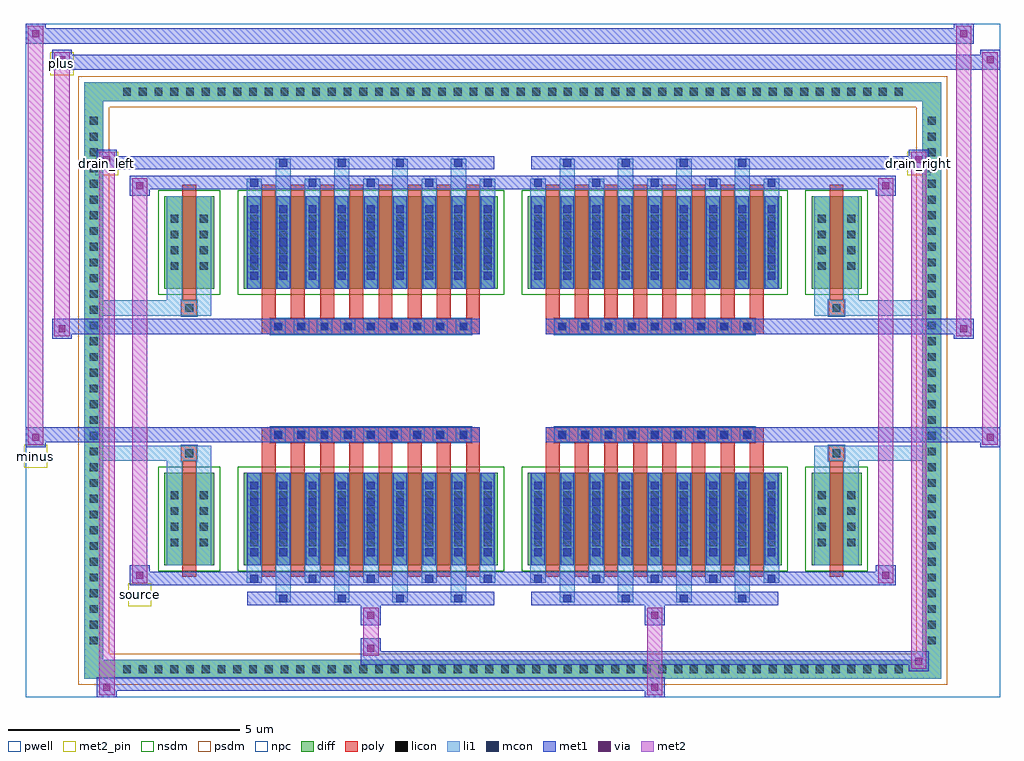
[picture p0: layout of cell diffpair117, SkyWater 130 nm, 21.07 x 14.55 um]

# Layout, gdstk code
import gdstk
lib = gdstk.Library(unit=1e-6, precision=5e-09)
def R(c, l, rs):  # rectangles x0, y0, x1, y1
    for r in rs: c.add(gdstk.rectangle(r[:2], r[2:], *l))
def A(c, l, x, y, w, h, nx, ny, dx, dy):  # array of equal rectangles
    R(c, l, [(x+i*dx, y+j*dy, x+i*dx+w, y+j*dy+h) for i in range(nx) for j in range(ny)])
def P(c, l, *ps):  # polygons
    for p in ps: c.add(gdstk.Polygon(p, *l))
pwell = (64, 44)
diff = (65, 20)
poly = (66, 20)
licon = (66, 44)
li1 = (67, 20)
mcon = (67, 44)
met1 = (68, 20)
via = (68, 44)
met2_pin = (69, 16)
met2 = (69, 20)
nsdm = (93, 44)
psdm = (94, 20)
npc = (95, 20)

diffpair117 = lib.new_cell('diffpair117')
R(diffpair117, pwell, [(-10.52,-6.84,10.52,7.71), (-7.84,-5.03,-0.01,-0.805), (0.01,-5.03,7.84,-0.805), (-7.84,0.805,-0.01,5.03), (0.01,0.805,7.84,5.03)])
A(diffpair117, diff, -8.535, -6.44, 0.41, 0.41, 50, 2, 0.34, 12.47)
A(diffpair117, diff, -9.25, -5.815, 0.41, 0.41, 1, 34, 0, 0.34)
A(diffpair117, diff, 8.84, -5.815, 0.41, 0.41, 1, 34, 0, 0.34)
R(diffpair117, diff, [(-8.535,-6.44,8.535,-6.03), (-9.25,-5.815,-8.84,5.815), (8.84,-5.815,9.25,5.815), (-7.53,-3.985,-6.45,-1.985), (-5.81,-3.985,-0.32,-1.985), (0.32,-3.985,5.81,-1.985), (6.45,-3.985,7.53,-1.985), (-7.53,1.985,-6.45,3.985), (-5.81,1.985,-0.32,3.985), (0.32,1.985,5.81,3.985), (6.45,1.985,7.53,3.985), (-8.535,6.03,8.535,6.44)])
P(diffpair117, diff, [(9.25,6.44),(-9.25,6.44),(-9.25,-6.03),(-8.84,-6.03),(-8.84,6.03),(8.84,6.03),(8.84,-6.03),(-8.84,-6.03),(-9.25,-6.03),(-9.25,-6.44),(9.25,-6.44)])
A(diffpair117, poly, -5.42, -4.235, 0.3, 2.5, 8, 2, 0.63, 5.97)
A(diffpair117, poly, 0.71, -4.235, 0.3, 2.5, 8, 2, 0.63, 5.97)
A(diffpair117, poly, -5.42, -1.735, 0.3, 0.4, 8, 2, 0.63, 3.07)
A(diffpair117, poly, 0.71, -1.735, 0.3, 0.4, 8, 2, 0.63, 3.07)
A(diffpair117, poly, -5.23, -1.335, 0.33, 0.33, 9, 2, 0.5, 2.34)
A(diffpair117, poly, 0.9, -1.335, 0.33, 0.33, 9, 2, 0.5, 2.34)
R(diffpair117, poly, [(-7.14,-4.235,-6.84,-1.735), (6.84,-4.235,7.14,-1.735), (-7.155,-1.735,-6.825,-1.405), (-7.155,-1.735,-6.825,-1.405), (6.825,-1.735,7.155,-1.405), (6.825,-1.735,7.155,-1.405), (-5.42,-1.335,-0.71,-1.005), (0.71,-1.335,5.42,-1.005), (-5.42,1.005,-0.71,1.335), (0.71,1.005,5.42,1.335), (-7.155,1.405,-6.825,1.735), (-7.155,1.405,-6.825,1.735), (6.825,1.405,7.155,1.735), (6.825,1.405,7.155,1.735), (-7.14,1.735,-6.84,4.235), (6.84,1.735,7.14,4.235)])
A(diffpair117, licon, -8.415, -6.32, 0.17, 0.17, 50, 2, 0.34, 12.47)
A(diffpair117, licon, -9.13, -5.695, 0.17, 0.17, 1, 34, 0, 0.34)
A(diffpair117, licon, 8.96, -5.695, 0.17, 0.17, 1, 34, 0, 0.34)
A(diffpair117, licon, -7.39, -3.58, 0.17, 0.17, 1, 4, 0, 0.34)
A(diffpair117, licon, -6.76, -3.58, 0.17, 0.17, 1, 4, 0, 0.34)
A(diffpair117, licon, -5.67, -3.58, 0.17, 0.17, 9, 4, 0.63, 0.34)
A(diffpair117, licon, 0.46, -3.58, 0.17, 0.17, 9, 4, 0.63, 0.34)
A(diffpair117, licon, 6.59, -3.58, 0.17, 0.17, 1, 4, 0, 0.34)
A(diffpair117, licon, 7.22, -3.58, 0.17, 0.17, 1, 4, 0, 0.34)
A(diffpair117, licon, -5.15, -1.255, 0.17, 0.17, 9, 2, 0.5, 2.34)
A(diffpair117, licon, 0.98, -1.255, 0.17, 0.17, 9, 2, 0.5, 2.34)
A(diffpair117, licon, -7.39, 2.39, 0.17, 0.17, 1, 4, 0, 0.34)
A(diffpair117, licon, -6.76, 2.39, 0.17, 0.17, 1, 4, 0, 0.34)
A(diffpair117, licon, -5.67, 2.39, 0.17, 0.17, 9, 4, 0.63, 0.34)
A(diffpair117, licon, 0.46, 2.39, 0.17, 0.17, 9, 4, 0.63, 0.34)
A(diffpair117, licon, 6.59, 2.39, 0.17, 0.17, 1, 4, 0, 0.34)
A(diffpair117, licon, 7.22, 2.39, 0.17, 0.17, 1, 4, 0, 0.34)
R(diffpair117, licon, [(-7.075,-1.655,-6.905,-1.485), (6.905,-1.655,7.075,-1.485), (-7.075,1.485,-6.905,1.655), (6.905,1.485,7.075,1.655)])
A(diffpair117, li1, -8.495, -6.4, 0.33, 0.33, 50, 2, 0.34, 12.47)
A(diffpair117, li1, -9.21, -5.775, 0.33, 0.33, 1, 34, 0, 0.34)
A(diffpair117, li1, 8.88, -5.775, 0.33, 0.33, 1, 34, 0, 0.34)
A(diffpair117, li1, -5.12, -4.79, 0.33, 0.805, 4, 2, 1.26, 8.775)
A(diffpair117, li1, -5.04, -4.79, 0.17, 0.17, 4, 2, 1.26, 9.41)
A(diffpair117, li1, 1.01, -4.79, 0.33, 0.805, 4, 2, 1.26, 8.775)
A(diffpair117, li1, 1.09, -4.79, 0.17, 0.17, 4, 2, 1.26, 9.41)
A(diffpair117, li1, -5.75, -4.36, 0.33, 0.375, 5, 2, 1.26, 8.345)
A(diffpair117, li1, -5.67, -4.36, 0.17, 0.17, 5, 2, 1.26, 8.55)
A(diffpair117, li1, 0.38, -4.36, 0.33, 0.375, 5, 2, 1.26, 8.345)
A(diffpair117, li1, 0.46, -4.36, 0.17, 0.17, 5, 2, 1.26, 8.55)
A(diffpair117, li1, -5.75, -3.985, 0.33, 2, 9, 2, 0.63, 5.97)
A(diffpair117, li1, 0.38, -3.985, 0.33, 2, 9, 2, 0.63, 5.97)
A(diffpair117, li1, -5.67, -3.79, 0.17, 0.17, 9, 5, 0.63, 0.36)
A(diffpair117, li1, -5.67, -3.79, 0.17, 1.61, 9, 2, 0.63, 5.97)
A(diffpair117, li1, 0.46, -3.79, 0.17, 0.17, 9, 5, 0.63, 0.36)
A(diffpair117, li1, 0.46, -3.79, 0.17, 1.61, 9, 2, 0.63, 5.97)
A(diffpair117, li1, -7.47, -3.66, 0.33, 0.33, 1, 4, 0, 0.34)
A(diffpair117, li1, -6.84, -3.66, 0.33, 0.33, 1, 4, 0, 0.34)
A(diffpair117, li1, -5.75, -3.66, 0.33, 0.33, 9, 4, 0.63, 0.34)
A(diffpair117, li1, 0.38, -3.66, 0.33, 0.33, 9, 4, 0.63, 0.34)
A(diffpair117, li1, 6.51, -3.66, 0.33, 0.33, 1, 4, 0, 0.34)
A(diffpair117, li1, 7.14, -3.66, 0.33, 0.33, 1, 4, 0, 0.34)
A(diffpair117, li1, -5.23, -1.335, 0.33, 0.33, 9, 2, 0.5, 2.34)
A(diffpair117, li1, 0.9, -1.335, 0.33, 0.33, 9, 2, 0.5, 2.34)
A(diffpair117, li1, -5.67, 2.18, 0.17, 0.17, 9, 5, 0.63, 0.36)
A(diffpair117, li1, 0.46, 2.18, 0.17, 0.17, 9, 5, 0.63, 0.36)
A(diffpair117, li1, -7.47, 2.31, 0.33, 0.33, 1, 4, 0, 0.34)
A(diffpair117, li1, -6.84, 2.31, 0.33, 0.33, 1, 4, 0, 0.34)
A(diffpair117, li1, -5.75, 2.31, 0.33, 0.33, 9, 4, 0.63, 0.34)
A(diffpair117, li1, 0.38, 2.31, 0.33, 0.33, 9, 4, 0.63, 0.34)
A(diffpair117, li1, 6.51, 2.31, 0.33, 0.33, 1, 4, 0, 0.34)
A(diffpair117, li1, 7.14, 2.31, 0.33, 0.33, 1, 4, 0, 0.34)
R(diffpair117, li1, [(-9.25,-6.44,-8.84,-6.03), (-9.25,-6.44,-8.84,-6.03), (-8.84,-6.44,8.84,-6.03), (8.84,-6.44,9.25,-6.03), (8.84,-6.44,9.25,-6.03), (-9.25,-6.03,-8.84,6.03), (8.84,-6.03,9.25,6.03), (-7.47,-3.985,-7.14,-1.985), (-6.84,-3.985,-6.51,-1.985), (6.51,-3.985,6.84,-1.985), (7.14,-3.985,7.47,-1.985), (-7.47,-1.985,-7.14,-1.405), (-6.84,-1.985,-6.51,-1.405), (6.51,-1.985,6.84,-1.405), (7.14,-1.985,7.47,-1.405), (-9.25,-1.735,-7.155,-1.405), (-7.47,-1.735,-7.155,-1.405), (-7.155,-1.735,-6.825,-1.405), (-6.825,-1.735,-6.51,-1.405), (6.51,-1.735,6.825,-1.405), (6.825,-1.735,7.155,-1.405), (6.825,-1.735,9.25,-1.405), (7.155,-1.735,7.47,-1.405), (-9.25,1.405,-7.155,1.735), (-7.47,1.405,-7.155,1.735), (-7.47,1.405,-7.14,1.985), (-7.155,1.405,-6.825,1.735), (-6.84,1.405,-6.51,1.985), (-6.825,1.405,-6.51,1.735), (6.51,1.405,6.825,1.735), (6.51,1.405,6.84,1.985), (6.825,1.405,7.155,1.735), (6.825,1.405,9.25,1.735), (7.14,1.405,7.47,1.985), (7.155,1.405,7.47,1.735), (-7.47,1.985,-7.14,3.985), (-6.84,1.985,-6.51,3.985), (6.51,1.985,6.84,3.985), (7.14,1.985,7.47,3.985), (-9.25,6.03,-8.84,6.44), (-9.25,6.03,-8.84,6.44), (-8.84,6.03,8.84,6.44), (8.84,6.03,9.25,6.44), (8.84,6.03,9.25,6.44)])
A(diffpair117, mcon, -5.04, -4.79, 0.17, 0.17, 4, 2, 1.26, 9.41)
A(diffpair117, mcon, 1.09, -4.79, 0.17, 0.17, 4, 2, 1.26, 9.41)
A(diffpair117, mcon, -5.67, -4.36, 0.17, 0.17, 5, 2, 1.26, 8.55)
A(diffpair117, mcon, 0.46, -4.36, 0.17, 0.17, 5, 2, 1.26, 8.55)
A(diffpair117, mcon, -5.67, -3.79, 0.17, 0.17, 9, 5, 0.63, 0.36)
A(diffpair117, mcon, 0.46, -3.79, 0.17, 0.17, 9, 5, 0.63, 0.36)
A(diffpair117, mcon, -5.15, -1.255, 0.17, 0.17, 9, 2, 0.5, 2.34)
A(diffpair117, mcon, 0.98, -1.255, 0.17, 0.17, 9, 2, 0.5, 2.34)
A(diffpair117, mcon, -5.67, 2.18, 0.17, 0.17, 9, 5, 0.63, 0.36)
A(diffpair117, mcon, 0.46, 2.18, 0.17, 0.17, 9, 5, 0.63, 0.36)
A(diffpair117, met1, -5.1, -4.85, 0.29, 0.29, 4, 2, 1.26, 9.41)
A(diffpair117, met1, 1.03, -4.85, 0.29, 0.29, 4, 2, 1.26, 9.41)
A(diffpair117, met1, -5.73, -4.42, 0.29, 0.29, 5, 2, 1.26, 8.55)
A(diffpair117, met1, 0.4, -4.42, 0.29, 0.29, 5, 2, 1.26, 8.55)
A(diffpair117, met1, -5.73, -3.985, 0.29, 2, 9, 2, 0.63, 5.97)
A(diffpair117, met1, 0.4, -3.985, 0.29, 2, 9, 2, 0.63, 5.97)
A(diffpair117, met1, -5.73, -3.85, 0.29, 0.29, 9, 5, 0.63, 0.36)
A(diffpair117, met1, 0.4, -3.85, 0.29, 0.29, 9, 5, 0.63, 0.36)
A(diffpair117, met1, -5.21, -1.315, 0.29, 0.29, 9, 2, 0.5, 2.34)
A(diffpair117, met1, 0.92, -1.315, 0.29, 0.29, 9, 2, 0.5, 2.34)
A(diffpair117, met1, -5.73, 2.12, 0.29, 0.29, 9, 5, 0.63, 0.36)
A(diffpair117, met1, 0.4, 2.12, 0.29, 0.29, 9, 5, 0.63, 0.36)
R(diffpair117, met1, [(-8.98,-6.84,-8.55,-6.41), (2.85,-6.84,3.28,-6.41), (-8.98,-6.7,3.28,-6.41), (8.55,-6.27,8.98,-5.84), (-3.28,-6.13,8.98,-5.84), (-3.28,-5.99,-2.85,-5.56), (-3.28,-5.28,-2.85,-4.85), (2.85,-5.28,3.28,-4.85), (-5.73,-4.85,-0.4,-4.56), (0.4,-4.85,5.73,-4.56), (-8.27,-4.42,-7.84,-3.99), (-8.27,-4.42,-5.73,-4.13), (-5.73,-4.42,-0.4,-4.13), (-0.4,-4.42,0.4,-4.13), (0.4,-4.42,5.73,-4.13), (5.73,-4.42,8.27,-4.13), (7.84,-4.42,8.27,-3.99), (-10.52,-1.435,-10.09,-1.005), (10.09,-1.435,10.52,-1.005), (-10.52,-1.335,-0.71,-1.005), (-5.42,-1.335,-0.71,-1.005), (0.71,-1.335,5.42,-1.005), (0.71,-1.335,10.52,-1.005), (-9.95,0.905,-9.52,1.335), (9.52,0.905,9.95,1.335), (-9.95,1.005,-5.42,1.335), (-5.42,1.005,-0.71,1.335), (0.71,1.005,5.42,1.335), (5.42,1.005,9.95,1.335), (-8.27,3.99,-7.84,4.42), (7.84,3.99,8.27,4.42), (-8.27,4.13,-5.73,4.42), (-5.73,4.13,-0.4,4.42), (-0.4,4.13,0.4,4.42), (0.4,4.13,5.73,4.42), (5.73,4.13,8.27,4.42), (-8.98,4.56,-8.55,4.99), (-8.98,4.56,-5.73,4.85), (-5.73,4.56,-0.4,4.85), (0.4,4.56,5.73,4.85), (5.73,4.56,8.98,4.85), (8.55,4.56,8.98,4.99), (-9.95,6.71,-9.52,7.14), (-9.95,6.71,-7.84,7.04), (-7.84,6.71,7.84,7.04), (7.84,6.71,10.52,7.04), (10.09,6.71,10.52,7.14), (-10.52,7.28,-10.09,7.71), (-10.52,7.28,-7.84,7.61), (-7.84,7.28,7.84,7.61), (7.84,7.28,9.95,7.61), (9.52,7.28,9.95,7.71)])
R(diffpair117, via, [(-8.84,-6.7,-8.69,-6.55), (2.99,-6.7,3.14,-6.55), (8.69,-6.13,8.84,-5.98), (-3.14,-5.85,-2.99,-5.7), (-3.14,-5.14,-2.99,-4.99), (2.99,-5.14,3.14,-4.99), (-8.13,-4.28,-7.98,-4.13), (7.98,-4.28,8.13,-4.13), (-10.38,-1.295,-10.23,-1.145), (10.23,-1.295,10.38,-1.145), (-9.81,1.045,-9.66,1.195), (9.66,1.045,9.81,1.195), (-8.13,4.13,-7.98,4.28), (7.98,4.13,8.13,4.28), (-8.84,4.7,-8.69,4.85), (8.69,4.7,8.84,4.85), (-9.81,6.85,-9.66,7), (10.23,6.85,10.38,7), (-10.38,7.42,-10.23,7.57), (9.66,7.42,9.81,7.57)])
R(diffpair117, met2_pin, [(-8.305,-4.87,-7.805,-4.37), (-10.555,-1.885,-10.055,-1.385), (-9.015,4.44,-8.515,4.94), (8.515,4.44,9.015,4.94), (-9.985,6.59,-9.485,7.09)])
R(diffpair117, met2, [(-8.93,-6.79,-8.6,-6.46), (-8.93,-6.79,-8.6,4.94), (2.9,-6.79,3.23,-6.46), (2.9,-6.46,3.23,-5.23), (8.6,-6.22,8.93,-5.89), (8.6,-6.22,8.93,4.94), (-3.23,-5.94,-2.9,-5.61), (-3.23,-5.61,-2.9,-5.23), (-3.23,-5.23,-2.9,-4.9), (2.9,-5.23,3.23,-4.9), (-8.22,-4.37,-7.89,-4.04), (-8.22,-4.37,-7.89,4.37), (7.89,-4.37,8.22,-4.04), (7.89,-4.37,8.22,4.37), (-10.47,-1.385,-10.14,-1.055), (-10.47,-1.385,-10.14,7.66), (10.14,-1.385,10.47,-1.055), (10.14,-1.385,10.47,7.09), (-9.9,0.955,-9.57,1.285), (-9.9,0.955,-9.57,7.09), (9.57,0.955,9.9,1.285), (9.57,0.955,9.9,7.66), (-8.22,4.04,-7.89,4.37), (7.89,4.04,8.22,4.37), (-8.93,4.61,-8.6,4.94), (8.6,4.61,8.93,4.94), (-9.9,6.76,-9.57,7.09), (10.14,6.76,10.47,7.09), (-10.47,7.33,-10.14,7.66), (9.57,7.33,9.9,7.66)])
P(diffpair117, met2, [(10.47,-1.385),(10.47,-1.385),(10.47,-1.055),(10.47,-1.055)],
  [(10.47,6.76),(10.47,6.76),(10.47,7.09),(10.47,7.09)],
  [(-10.14,-1.385),(-10.14,-1.385),(-10.14,-1.055),(-10.14,-1.055)],
  [(-10.14,7.33),(-10.14,7.33),(-10.14,7.66),(-10.14,7.66)],
  [(9.9,0.955),(9.9,0.955),(9.9,1.285),(9.9,1.285)],
  [(9.9,7.33),(9.9,7.33),(9.9,7.66),(9.9,7.66)],
  [(-9.57,0.955),(-9.57,0.955),(-9.57,1.285),(-9.57,1.285)],
  [(-9.57,6.76),(-9.57,6.76),(-9.57,7.09),(-9.57,7.09)],
  [(-8.6,-6.79),(-8.6,-6.79),(-8.6,-6.46),(-8.6,-6.46)],
  [(-8.6,4.61),(-8.6,4.61),(-8.6,4.94),(-8.6,4.94)],
  [(8.93,-6.22),(8.93,-6.22),(8.93,-5.89),(8.93,-5.89)],
  [(8.93,4.61),(8.93,4.61),(8.93,4.94),(8.93,4.94)],
  [(-7.89,-4.37),(-7.89,-4.37),(-7.89,-4.04),(-7.89,-4.04)],
  [(-7.89,4.04),(-7.89,4.04),(-7.89,4.37),(-7.89,4.37)],
  [(8.22,-4.37),(8.22,-4.37),(8.22,-4.04),(8.22,-4.04)],
  [(8.22,4.04),(8.22,4.04),(8.22,4.37),(8.22,4.37)])
R(diffpair117, nsdm, [(-7.66,-4.115,-6.32,-1.855), (-5.94,-4.115,-0.19,-1.855), (0.19,-4.115,5.94,-1.855), (6.32,-4.115,7.66,-1.855), (-7.66,1.855,-6.32,4.115), (-5.94,1.855,-0.19,4.115), (0.19,1.855,5.94,4.115), (6.32,1.855,7.66,4.115)])
P(diffpair117, psdm, [(9.38,6.57),(-9.38,6.57),(-9.38,-5.9),(-8.71,-5.9),(-8.71,5.9),(8.71,5.9),(8.71,-5.9),(-8.71,-5.9),(-9.38,-5.9),(-9.38,-6.57),(9.38,-6.57)])
A(diffpair117, npc, -5.25, -1.355, 0.37, 0.37, 9, 2, 0.5, 2.34)
A(diffpair117, npc, 0.88, -1.355, 0.37, 0.37, 9, 2, 0.5, 2.34)
R(diffpair117, npc, [(-7.175,-1.755,-6.805,-1.385), (6.805,-1.755,7.175,-1.385), (-5.25,-1.355,-4.38,-0.985), (-5.25,-1.355,-4.38,-0.985), (-4.75,-1.355,-3.88,-0.985), (-4.75,-1.355,-3.88,-0.985), (-4.25,-1.355,-3.38,-0.985), (-4.25,-1.355,-3.38,-0.985), (-3.75,-1.355,-2.88,-0.985), (-3.75,-1.355,-2.88,-0.985), (-3.25,-1.355,-2.38,-0.985), (-3.25,-1.355,-2.38,-0.985), (-2.75,-1.355,-1.88,-0.985), (-2.75,-1.355,-1.88,-0.985), (-2.25,-1.355,-1.38,-0.985), (-2.25,-1.355,-1.38,-0.985), (-1.75,-1.355,-0.88,-0.985), (-1.75,-1.355,-0.88,-0.985), (0.88,-1.355,1.75,-0.985), (0.88,-1.355,1.75,-0.985), (1.38,-1.355,2.25,-0.985), (1.38,-1.355,2.25,-0.985), (1.88,-1.355,2.75,-0.985), (1.88,-1.355,2.75,-0.985), (2.38,-1.355,3.25,-0.985), (2.38,-1.355,3.25,-0.985), (2.88,-1.355,3.75,-0.985), (2.88,-1.355,3.75,-0.985), (3.38,-1.355,4.25,-0.985), (3.38,-1.355,4.25,-0.985), (3.88,-1.355,4.75,-0.985), (3.88,-1.355,4.75,-0.985), (4.38,-1.355,5.25,-0.985), (4.38,-1.355,5.25,-0.985), (-5.25,0.985,-4.38,1.355), (-5.25,0.985,-4.38,1.355), (-4.75,0.985,-3.88,1.355), (-4.75,0.985,-3.88,1.355), (-4.25,0.985,-3.38,1.355), (-4.25,0.985,-3.38,1.355), (-3.75,0.985,-2.88,1.355), (-3.75,0.985,-2.88,1.355), (-3.25,0.985,-2.38,1.355), (-3.25,0.985,-2.38,1.355), (-2.75,0.985,-1.88,1.355), (-2.75,0.985,-1.88,1.355), (-2.25,0.985,-1.38,1.355), (-2.25,0.985,-1.38,1.355), (-1.75,0.985,-0.88,1.355), (-1.75,0.985,-0.88,1.355), (0.88,0.985,1.75,1.355), (0.88,0.985,1.75,1.355), (1.38,0.985,2.25,1.355), (1.38,0.985,2.25,1.355), (1.88,0.985,2.75,1.355), (1.88,0.985,2.75,1.355), (2.38,0.985,3.25,1.355), (2.38,0.985,3.25,1.355), (2.88,0.985,3.75,1.355), (2.88,0.985,3.75,1.355), (3.38,0.985,4.25,1.355), (3.38,0.985,4.25,1.355), (3.88,0.985,4.75,1.355), (3.88,0.985,4.75,1.355), (4.38,0.985,5.25,1.355), (4.38,0.985,5.25,1.355), (-7.175,1.385,-6.805,1.755), (6.805,1.385,7.175,1.755)])
diffpair117.add(gdstk.Label('minus', (-10.305,-1.635), layer=69, texttype=5))
diffpair117.add(gdstk.Label('drain_right', (8.765,4.69), layer=69, texttype=5))
diffpair117.add(gdstk.Label('drain_left', (-8.765,4.69), layer=69, texttype=5))
diffpair117.add(gdstk.Label('source', (-8.055,-4.62), layer=69, texttype=5))
diffpair117.add(gdstk.Label('plus', (-9.735,6.84), layer=69, texttype=5))

lib.write_gds('diffpair117.gds')
